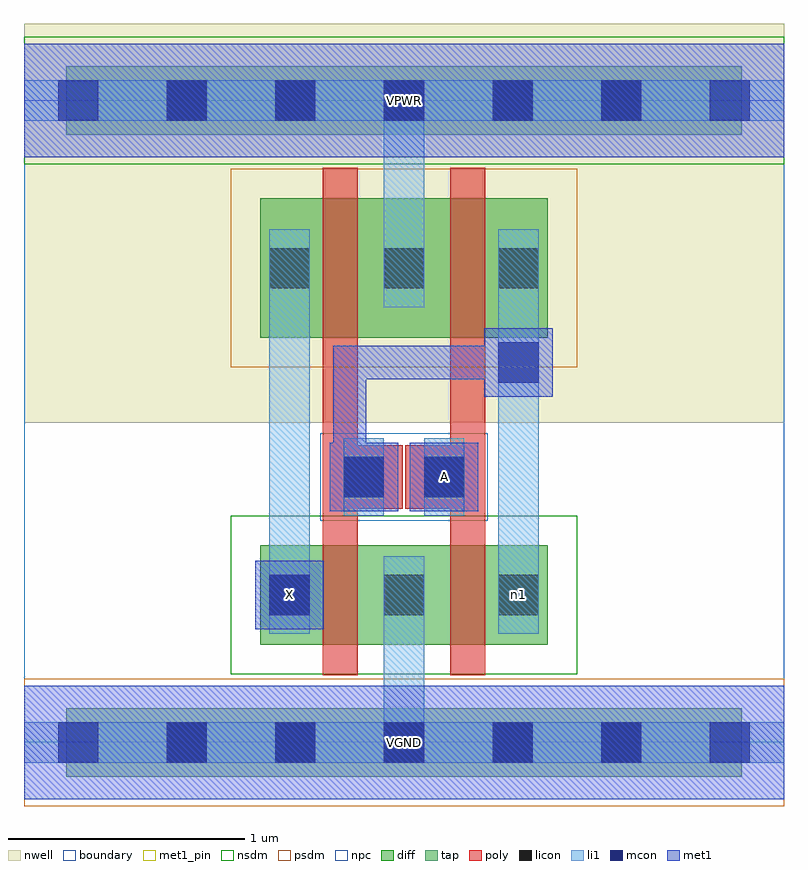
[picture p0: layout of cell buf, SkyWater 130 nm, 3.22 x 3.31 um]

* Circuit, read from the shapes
.subckt buf A VGND VPWR X n1
XM1 VGND n1 X VGND sky130_fd_pr__nfet_01v8 w=0.42 l=0.15
XM2 n1 A VGND VGND sky130_fd_pr__nfet_01v8 w=0.42 l=0.15
XM3 VPWR n1 X VPWR sky130_fd_pr__pfet_01v8 w=0.59 l=0.15
XM4 n1 A VPWR VPWR sky130_fd_pr__pfet_01v8 w=0.59 l=0.15
.ends

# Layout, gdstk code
import gdstk
lib = gdstk.Library(unit=1e-6, precision=1e-09)
def R(c, l, rs):  # rectangles x0, y0, x1, y1
    for r in rs: c.add(gdstk.rectangle(r[:2], r[2:], *l))
def A(c, l, x, y, w, h, nx, ny, dx, dy):  # array of equal rectangles
    R(c, l, [(x+i*dx, y+j*dy, x+i*dx+w, y+j*dy+h) for i in range(nx) for j in range(ny)])
nwell = (64, 20)
diff = (65, 20)
tap = (65, 44)
poly = (66, 20)
licon = (66, 44)
li1 = (67, 20)
mcon = (67, 44)
met1_pin = (68, 16)
met1 = (68, 20)
nsdm = (93, 44)
psdm = (94, 20)
npc = (95, 20)
boundary = (235, 4)

buf = lib.new_cell('buf')
R(buf, nwell, [(0,1.355,3.22,3.045)])
R(buf, diff, [(1,0.415,2.22,0.835), (1,1.715,2.22,2.305)])
R(buf, tap, [(0.18,-0.145,3.04,0.145), (0.18,2.575,3.04,2.865)])
R(buf, poly, [(1.265,0.285,1.415,2.435), (1.805,0.285,1.955,2.435), (1.275,0.99,1.605,1.26), (1.615,0.99,1.945,1.26)])
A(buf, licon, 0.605, -0.085, 0.17, 0.17, 5, 2, 0.46, 2.72)
A(buf, licon, 1.04, 0.54, 0.17, 0.17, 3, 2, 0.485, 1.385)
R(buf, licon, [(1.355,1.04,1.525,1.21), (1.695,1.04,1.865,1.21)])
A(buf, li1, 1.04, 0.46, 0.17, 0.33, 3, 2, 0.485, 1.385)
R(buf, li1, [(0,-0.085,3.22,0.085), (1.525,-0.085,1.695,0.79), (1.04,0.46,1.21,2.175), (2.01,0.46,2.18,2.175), (1.355,0.96,1.525,1.29), (1.695,0.96,1.865,1.29), (1.525,1.845,1.695,2.805), (0,2.635,3.22,2.805)])
A(buf, mcon, 0.145, -0.085, 0.17, 0.17, 7, 2, 0.46, 2.72)
R(buf, mcon, [(1.04,0.54,1.21,0.71), (1.355,1.04,1.525,1.21), (1.695,1.04,1.865,1.21), (2.01,1.525,2.18,1.695)])
R(buf, met1_pin, [(0,-0.24,3.22,0.24), (0.98,0.48,1.27,0.77), (1.635,0.98,1.925,1.27), (0,2.48,3.22,2.96)])
R(buf, met1, [(0,-0.24,3.22,0.24), (0.98,0.48,1.27,0.77), (1.295,0.98,1.585,1.27), (1.635,0.98,1.925,1.27), (1.31,1.08,1.45,1.22), (1.31,1.08,1.45,1.68), (1.95,1.465,2.24,1.755), (1.31,1.54,2.025,1.68), (1.885,1.54,2.165,1.68), (0,2.48,3.22,2.96)])
R(buf, nsdm, [(0.875,0.29,2.345,0.96), (0,2.45,3.22,2.99)])
R(buf, psdm, [(0,-0.27,3.22,0.27), (0.875,1.59,2.345,2.43)])
R(buf, npc, [(1.255,0.94,1.965,1.31)])
R(buf, boundary, [(0,0,3.22,2.72)])
buf.add(gdstk.Label('n1', (2.095,0.625), layer=67, texttype=5))
buf.add(gdstk.Label('A', (1.78,1.125), layer=68, texttype=5))
buf.add(gdstk.Label('X', (1.125,0.625), layer=68, texttype=5))
buf.add(gdstk.Label('VPWR', (1.61,2.72), layer=68, texttype=5))
buf.add(gdstk.Label('VGND', (1.61,0), layer=68, texttype=5))
buf.add(gdstk.Label('A', (1.78,1.125), layer=68, texttype=16))
buf.add(gdstk.Label('X', (1.125,0.625), layer=68, texttype=16))
buf.add(gdstk.Label('VPWR', (1.61,2.72), layer=68, texttype=16))
buf.add(gdstk.Label('VGND', (1.61,0), layer=68, texttype=16))

lib.write_gds('buf.gds')
